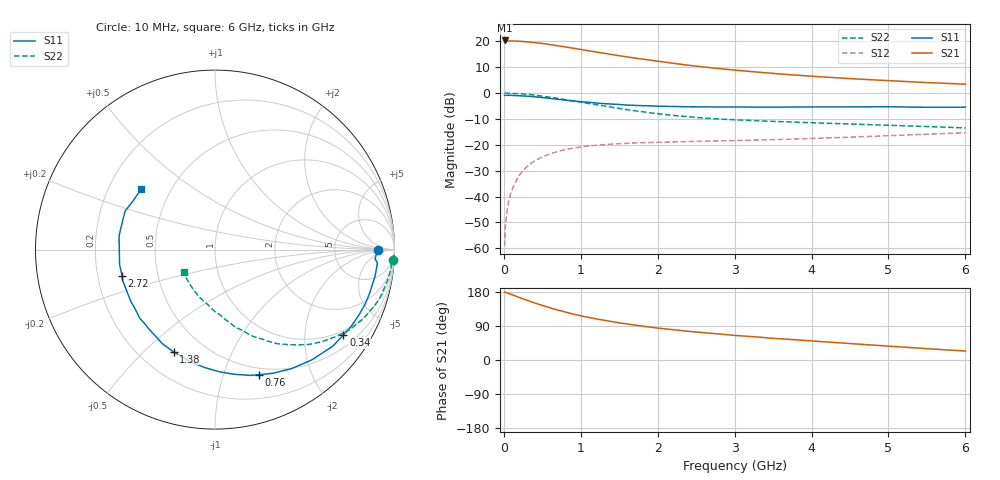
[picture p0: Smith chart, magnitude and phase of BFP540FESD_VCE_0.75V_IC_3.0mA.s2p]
! Infineon Technologies  Discrete & RF Semiconductors
! BFP540FESD
! VCE = 0.75 V,  IC =  3.0 mA
! Common Emitter S-Parameters:  Nov 2015
# GHz  S  MA  R  50
!  f  S11  S21  S12  S22
! GHz  MAG  ANG  MAG  ANG  MAG  ANG  MAG  ANG
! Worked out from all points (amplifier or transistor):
!   210 points, 10 MHz to 6 GHz, reference 50 ohm
!   highest |S21| = 20.3 dB at 10 MHz (marker M1)
!   |S21| within 3 dB of that: start of sweep to 900.4 MHz
!   unconditionally stable (mu >= 1): 3.117 GHz to end of sweep
!   at 185 MHz: K = 0.04, MSG = 26.3 dB, |S12| = -32.5 dB
!   at 1.52 GHz: K = 0.48, MSG = 16.9 dB, |S12| = -19.5 dB
!   at 6 GHz: K = 1.40, MAG = 5.6 dB, |S12| = -15.3 dB
!   S11 on the Smith chart (normalised r, x): 10 MHz: 20, -1; 340 MHz: 0.86, -3.10; 760 MHz: 0.43, -1.32; 1.38 GHz: 0.34, -0.62; 2.72 GHz: 0.30, -0.13; 6 GHz: 0.34, +0.32
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0.01  0.9067 -0.2  10.36 179.1  0.0011 92.9  0.9918 -3.5
0.02  0.893 -3.3  10.06 178.8  0.0026 95.0  1 -1.4
0.04  0.9031 -4.2  10.12 177.3  0.0051 88.2  0.9913 -2.7
0.095  0.904 -9.1  10.15 173.2  0.0121 84.9  0.9856 -6.2
0.15  0.8954 -15.6  10.15 169.1  0.0188 82.0  0.9777 -9.7
0.2  0.8902 -19.8  10 164.9  0.0258 79.7  0.9677 -12.9
0.34  0.8588 -33.6  9.629 154.8  0.0421 71.1  0.9294 -21.5
0.5  0.8178 -48.7  9.098 143.7  0.0585 63.5  0.8719 -30.8
0.6  0.7878 -57.5  8.62 137.3  0.0667 58.8  0.8293 -35.8
0.76  0.7391 -70.5  7.943 128.5  0.0782 52.4  0.7608 -43.4
0.9  0.7024 -81.4  7.338 121.1  0.0859 47.8  0.7023 -49.1
1.02  0.6752 -89.6  6.855 115.9  0.0913 44.6  0.6567 -53.5
1.2  0.6409 -101.9  6.174 108.4  0.0975 39.7  0.5922 -59.7
1.38  0.6139 -112.1  5.605 102.2  0.1027 36.1  0.5364 -65.3
1.7  0.5766 -129.2  4.743 92.1  0.1087 31.6  0.4537 -74.3
2.02  0.5547 -143.0  4.071 83.8  0.112 28.3  0.395 -81.4
2.4  0.5418 -155.9  3.435 75.6  0.1154 25.9  0.3503 -88.9
2.72  0.5388 -164.2  3.047 70.0  0.1183 25.1  0.3191 -95.3
3.1  0.536 -173.1  2.688 63.5  0.1217 24.2  0.2989 -100.7
4.1  0.5388 170.0  2.065 48.9  0.1339 23.9  0.2635 -114.0
5.1  0.5407 155.1  1.705 35.3  0.1514 22.3  0.2352 -127.8
6  0.5326 140.8  1.484 23.6  0.1709 20.1  0.2118 -143.8
